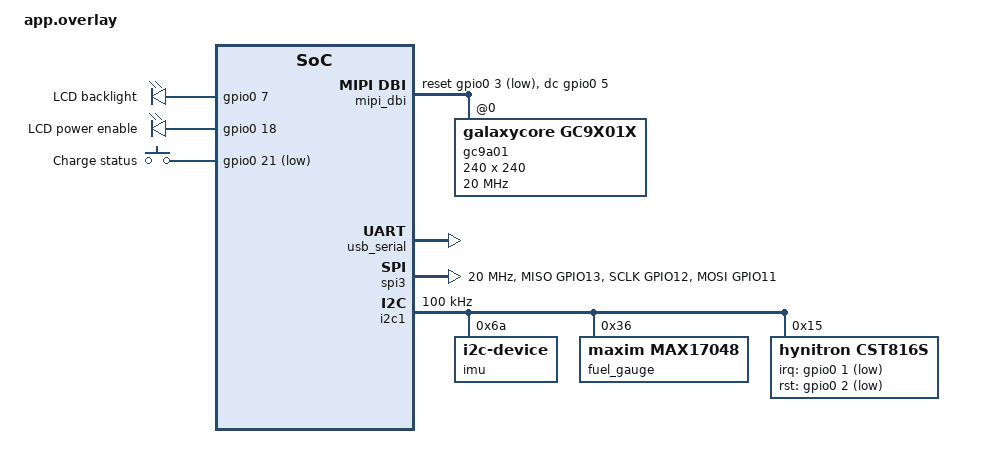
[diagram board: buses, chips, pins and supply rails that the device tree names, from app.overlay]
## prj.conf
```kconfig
CONFIG_CONSOLE=y
CONFIG_UART_CONSOLE=y
CONFIG_SERIAL=y
CONFIG_SERIAL_ESP32_USB=y
CONFIG_SHELL=y
CONFIG_SHELL_BACKEND_SERIAL=y
CONFIG_SHELL_PROMPT_UART="hacktor:~$ "
CONFIG_SHELL_STACK_SIZE=4096
CONFIG_GPIO=y
CONFIG_PRINTK=y
CONFIG_SPI=y
CONFIG_INPUT=y
CONFIG_DISPLAY=y
CONFIG_FUEL_GAUGE=y
CONFIG_MAX17048=y
CONFIG_LOG=y
CONFIG_MAIN_STACK_SIZE=4096
CONFIG_LVGL=y
CONFIG_LV_Z_AUTO_INIT=n
CONFIG_LV_Z_MEM_POOL_SIZE=65536
CONFIG_LV_USE_LABEL=y
CONFIG_LV_USE_LINE=y
CONFIG_LV_FONT_MONTSERRAT_14=y
CONFIG_LV_FONT_MONTSERRAT_20=y
CONFIG_LV_FONT_DEFAULT_MONTSERRAT_14=y
CONFIG_LV_COLOR_16_SWAP=y
```

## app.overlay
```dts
#include <zephyr/dt-bindings/display/panel.h>
#include <zephyr/dt-bindings/gpio/gpio.h>
#include <zephyr/dt-bindings/i2c/i2c.h>
#include <zephyr/dt-bindings/input/input-event-codes.h>
#include <zephyr/dt-bindings/pinctrl/esp-pinctrl-common.h>
#include <zephyr/dt-bindings/pinctrl/esp32s3-gpio-sigmap.h>
#include <zephyr/dt-bindings/pinctrl/esp32s3-pinctrl.h>

/ {
	chosen {
		zephyr,console = &usb_serial;
		zephyr,shell-uart = &usb_serial;
		zephyr,display = &gc9a01;
		zephyr,touch = &cst816s;
	};

	mipi_dbi {
		compatible = "zephyr,mipi-dbi-spi";
		spi-dev = <&spi3>;
		dc-gpios = <&gpio0 5 GPIO_ACTIVE_HIGH>;
		reset-gpios = <&gpio0 3 GPIO_ACTIVE_LOW>;
		write-only;
		#address-cells = <1>;
		#size-cells = <0>;

		gc9a01: gc9a01@0 {
			compatible = "galaxycore,gc9x01x";
			reg = <0>;
			status = "okay";
			zephyr,deferred-init;
			orientation = "180";
			mipi-max-frequency = <20000000>;
			mipi-mode = "MIPI_DBI_MODE_SPI_4WIRE";
			pixel-format = <PANEL_PIXEL_FORMAT_RGB_565>;
			rgb-is-inverted;
			width = <240>;
			height = <240>;
			display-inversion;
		};
	};

	leds {
		compatible = "gpio-leds";

		lcd_backlight: lcd_backlight {
			gpios = <&gpio0 7 GPIO_ACTIVE_HIGH>;
			label = "LCD backlight";
		};

		lcd_power_enable: lcd_power_enable {
			gpios = <&gpio0 18 GPIO_ACTIVE_HIGH>;
			label = "LCD power enable";
		};
	};

	charger_inputs {
		compatible = "gpio-keys";

		charger_status: charger_status {
			gpios = <&gpio0 21 (GPIO_PULL_UP | GPIO_ACTIVE_LOW)>;
			label = "Charge status";
			zephyr,code = <INPUT_KEY_F24>;
		};
	};
};

&usb_serial {
	status = "okay";
};

&pinctrl {
	/* LCD is wired to SPI3 on GPIO12/11/13. */
	spim3_lcd_default: spim3_lcd_default {
		group1 {
			pinmux = <SPIM3_MISO_GPIO13>, <SPIM3_SCLK_GPIO12>;
		};

		group2 {
			pinmux = <SPIM3_MOSI_GPIO11>;
			output-low;
		};
	};

	i2c1_touch_default: i2c1_touch_default {
		group1 {
			pinmux = <I2C1_SDA_GPIO8>, <I2C1_SCL_GPIO9>;
			bias-pull-up;
			drive-open-drain;
			output-high;
		};
	};
};

&spi3 {
	#address-cells = <1>;
	#size-cells = <0>;
	status = "okay";
	pinctrl-0 = <&spim3_lcd_default>;
	pinctrl-names = "default";
	clock-frequency = <20000000>;
	cs-gpios = <&gpio0 4 GPIO_ACTIVE_LOW>;
};

&i2c1 {
	status = "okay";
	clock-frequency = <I2C_BITRATE_STANDARD>;
	pinctrl-0 = <&i2c1_touch_default>;
	pinctrl-names = "default";

	imu: lsm6dsl@6a {
		compatible = "i2c-device";
		reg = <0x6a>;
		status = "okay";
	};

	fuel_gauge: max17048@36 {
		compatible = "maxim,max17048";
		reg = <0x36>;
		status = "okay";
		zephyr,deferred-init;
	};

	cst816s: cst81xx@15 {
		compatible = "hynitron,cst816s";
		reg = <0x15>;
		status = "okay";
		zephyr,deferred-init;
		irq-gpios = <&gpio0 1 (GPIO_PULL_UP | GPIO_ACTIVE_LOW)>;
		rst-gpios = <&gpio0 2 GPIO_ACTIVE_LOW>;
	};
};

&{/buttons} {
	imu_wake1 {
		gpios = <&gpio0 17 GPIO_ACTIVE_HIGH>;
		label = "IMU INT1";
		zephyr,code = <INPUT_KEY_WAKEUP>;
	};

	imu_wake2 {
		gpios = <&gpio0 14 GPIO_ACTIVE_HIGH>;
		label = "IMU INT2";
		zephyr,code = <INPUT_KEY_WAKEUP>;
	};
};
```

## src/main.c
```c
#include "panel.h"

int main(void)
{
	return panel_run();
}
```

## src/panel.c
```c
#include "panel.h"

#include <zephyr/device.h>
#include <zephyr/drivers/display.h>
#include <zephyr/drivers/gpio.h>
#include <zephyr/input/input.h>
#include <zephyr/kernel.h>
#include <zephyr/shell/shell.h>
#include <zephyr/sys/atomic.h>
#include <zephyr/sys/printk.h>
#include <lvgl.h>
#include <lvgl_zephyr.h>

#define DISPLAY_NODE DT_CHOSEN(zephyr_display)
#define BACKLIGHT_NODE DT_NODELABEL(lcd_backlight)
#define TOUCH_NODE DT_CHOSEN(zephyr_touch)
#define DISPLAY_WIDTH DT_PROP(DISPLAY_NODE, width)
#define DISPLAY_HEIGHT DT_PROP(DISPLAY_NODE, height)
#define TOUCH_DOT_SIZE 18
#define TOUCH_DOT_COLOR_HEX 0x365AFF

static const struct gpio_dt_spec lcd_backlight = GPIO_DT_SPEC_GET(BACKLIGHT_NODE, gpios);
static const struct device *const touch_dev = DEVICE_DT_GET(TOUCH_NODE);

static atomic_t touch_x;
static atomic_t touch_y;
static atomic_t touch_pressed;
static atomic_t touch_dirty;

static struct display_capabilities display_cap = {
	.x_resolution = DISPLAY_WIDTH,
	.y_resolution = DISPLAY_HEIGHT,
	.current_orientation = DISPLAY_ORIENTATION_NORMAL,
};

static lv_obj_t *status_label;
static lv_obj_t *touch_dot;

static int clamp_coord(int value, int limit)
{
	if (value < 0) {
		return 0;
	}

	if (value > limit) {
		return limit;
	}

	return value;
}

static void transform_touch_point(int raw_x, int raw_y, int *screen_x, int *screen_y)
{
	switch (display_cap.current_orientation) {
	case DISPLAY_ORIENTATION_NORMAL:
		*screen_x = raw_x;
		*screen_y = raw_y;
		break;
	case DISPLAY_ORIENTATION_ROTATED_90:
		*screen_x = raw_y;
		*screen_y = display_cap.y_resolution - raw_x;
		break;
	case DISPLAY_ORIENTATION_ROTATED_180:
		*screen_x = display_cap.x_resolution - raw_x;
		*screen_y = display_cap.y_resolution - raw_y;
		break;
	case DISPLAY_ORIENTATION_ROTATED_270:
		*screen_x = display_cap.x_resolution - raw_y;
		*screen_y = raw_x;
		break;
	default:
		*screen_x = raw_x;
		*screen_y = raw_y;
		break;
	}

	*screen_x = clamp_coord(*screen_x, display_cap.x_resolution - 1);
	*screen_y = clamp_coord(*screen_y, display_cap.y_resolution - 1);
}

static void touch_event_callback(struct input_event *evt, void *user_data)
{
	ARG_UNUSED(user_data);

	switch (evt->code) {
	case INPUT_ABS_X:
		atomic_set(&touch_x, evt->value);
		break;
	case INPUT_ABS_Y:
		atomic_set(&touch_y, evt->value);
		break;
	case INPUT_BTN_TOUCH:
		atomic_set(&touch_pressed, evt->value);
		break;
	default:
		break;
	}

	if (evt->sync) {
		atomic_set(&touch_dirty, 1);
	}
}
INPUT_CALLBACK_DEFINE(touch_dev, touch_event_callback, NULL);

static void update_touch_ui(void)
{
	char text[32];
	int x;
	int y;
	int screen_x;
	int screen_y;
	bool pressed;

	if (!atomic_cas(&touch_dirty, 1, 0)) {
		return;
	}

	x = atomic_get(&touch_x);
	y = atomic_get(&touch_y);
	pressed = atomic_get(&touch_pressed) != 0;
	transform_touch_point(x, y, &screen_x, &screen_y);

	if (pressed) {
		lv_obj_clear_flag(touch_dot, LV_OBJ_FLAG_HIDDEN);
		lv_obj_set_pos(touch_dot,
			       clamp_coord(screen_x - TOUCH_DOT_SIZE / 2,
					   display_cap.x_resolution - TOUCH_DOT_SIZE),
			       clamp_coord(screen_y - TOUCH_DOT_SIZE / 2,
					   display_cap.y_resolution - TOUCH_DOT_SIZE));
		snprintk(text, sizeof(text), "Touch %d,%d", screen_x, screen_y);
		lv_label_set_text(status_label, text);
	} else {
		lv_obj_add_flag(touch_dot, LV_OBJ_FLAG_HIDDEN);
		lv_label_set_text(status_label, "Touch released");
	}
}

static int cmd_app_status(const struct shell *sh, size_t argc, char **argv)
{
	int raw_x;
	int raw_y;
	int screen_x;
	int screen_y;
	bool pressed;

	ARG_UNUSED(argc);
	ARG_UNUSED(argv);

	raw_x = atomic_get(&touch_x);
	raw_y = atomic_get(&touch_y);
	pressed = atomic_get(&touch_pressed) != 0;
	transform_touch_point(raw_x, raw_y, &screen_x, &screen_y);

	shell_print(sh, "display: %ux%u orientation=%u",
		    display_cap.x_resolution,
		    display_cap.y_resolution,
		    display_cap.current_orientation);
	shell_print(sh, "touch: %s raw=%d,%d screen=%d,%d",
		    pressed ? "pressed" : "released",
		    raw_x, raw_y, screen_x, screen_y);

	return 0;
}
SHELL_CMD_REGISTER(app, NULL, "Show current app and touch status", cmd_app_status);

static int init_display(const struct device **display_dev)
{
	const struct device *display = DEVICE_DT_GET(DISPLAY_NODE);
	int ret;

	if (!gpio_is_ready_dt(&lcd_backlight)) {
		printk("LCD backlight GPIO is not ready\n");
		return -ENODEV;
	}

	ret = gpio_pin_configure_dt(&lcd_backlight, GPIO_OUTPUT_ACTIVE);
	if (ret < 0) {
		printk("Backlight GPIO setup failed: %d\n", ret);
		return ret;
	}

	if (!device_is_ready(display)) {
		k_sleep(K_MSEC(250));
		ret = device_init(display);
		if (ret < 0) {
			printk("Display init failed: %d\n", ret);
			return ret;
		}
	}

	if (!device_is_ready(display)) {
		printk("Display device is not ready\n");
		return -ENODEV;
	}

	display_get_capabilities(display, &display_cap);

	*display_dev = display;
	return 0;
}

static int init_ui(void)
{
	lv_obj_t *screen;
	lv_obj_t *hello_label;

	screen = lv_screen_active();
	lv_obj_set_style_bg_color(screen, lv_color_hex(0x000000), 0);
	lv_obj_set_style_bg_opa(screen, LV_OPA_COVER, 0);

	hello_label = lv_label_create(screen);
	lv_label_set_text(hello_label, "Hello!");
	lv_obj_set_style_text_color(hello_label, lv_color_hex(0xFFFFFF), 0);
	lv_obj_set_style_text_font(hello_label, &lv_font_montserrat_42, 0);
	lv_obj_align(hello_label, LV_ALIGN_CENTER, 0, 0);

	status_label = lv_label_create(screen);
	lv_label_set_text(status_label, "Touch the screen");
	lv_obj_set_style_text_color(status_label, lv_color_hex(0x8CFFB5), 0);
	lv_obj_set_style_text_font(status_label, &lv_font_montserrat_14, 0);
	lv_obj_align(status_label, LV_ALIGN_BOTTOM_MID, 0, -14);

	touch_dot = lv_obj_create(screen);
	lv_obj_remove_style_all(touch_dot);
	lv_obj_set_size(touch_dot, TOUCH_DOT_SIZE, TOUCH_DOT_SIZE);
	lv_obj_set_style_radius(touch_dot, LV_RADIUS_CIRCLE, 0);
	/* This panel path swaps red/blue, so use a pre-swapped value to render orange. */
	lv_obj_set_style_bg_color(touch_dot, lv_color_hex(TOUCH_DOT_COLOR_HEX), 0);
	lv_obj_set_style_bg_opa(touch_dot, LV_OPA_COVER, 0);
	lv_obj_add_flag(touch_dot, LV_OBJ_FLAG_HIDDEN);

	return 0;
}

int panel_run(void)
{
	const struct device *display;
	uint32_t sleep_ms;
	int ret;

	if (!device_is_ready(touch_dev)) {
		printk("Touch device is not ready\n");
		return 0;
	}

	ret = init_display(&display);
	if (ret < 0) {
		return 0;
	}

	ret = lvgl_init();
	if (ret < 0) {
		printk("LVGL init failed: %d\n", ret);
		return 0;
	}

	lvgl_lock();
	ret = init_ui();
	if (ret == 0) {
		lv_timer_handler();
	}
	lvgl_unlock();

	if (ret < 0) {
		return 0;
	}

	ret = display_blanking_off(display);
	if (ret < 0 && ret != -ENOSYS) {
		printk("Failed to enable display output: %d\n", ret);
		return 0;
	}

	while (1) {
		lvgl_lock();
		update_touch_ui();
		sleep_ms = lv_timer_handler();
		lvgl_unlock();

		if (sleep_ms == LV_NO_TIMER_READY || sleep_ms > 100U) {
			sleep_ms = 100U;
		}
		if (sleep_ms < 10U) {
			sleep_ms = 10U;
		}

		k_sleep(K_MSEC(sleep_ms));
	}
}
```
